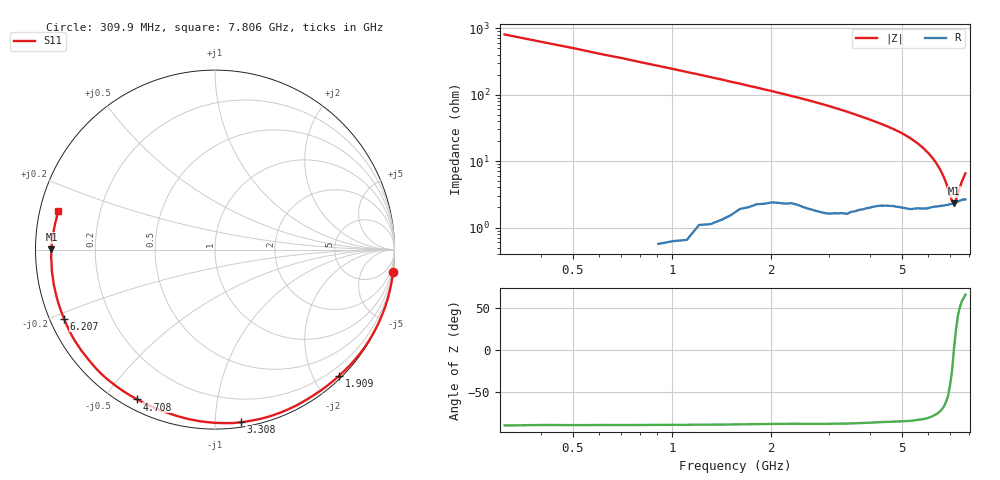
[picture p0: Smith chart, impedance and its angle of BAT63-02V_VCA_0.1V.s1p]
! Infineon Technologies  Discrete & RF Semiconductors
! BAT63-02V
! VCA = 0.1 V
! One-Port S-Parameters
# Hz  S  MA  R  50
!f  S11
!Hz  Mag  Ang
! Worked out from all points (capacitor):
!   76 points, 309.9 MHz to 7.806 GHz, reference 50 ohm
!   read as one part to ground: C = 637 fF near 309.9 MHz
!   lowest |Z| = 2.33 ohm at 7.206 GHz (marker M1)
!   series resonance near 7.202 GHz, so ESL is about 770 pH
!   S11 on the Smith chart (normalised r, x): 309.9 MHz: -0, -16; 1.909 GHz: 0.05, -2.39; 3.308 GHz: 0.03, -1.16; 4.708 GHz: 0.04, -0.61; 6.207 GHz: 0.04, -0.22; 7.806 GHz: 0.05, +0.12
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3.0985e8  1.001 -7.1
5.0975e8  1.001 -11.6
8.096e8  1 -18.7
1.0095e9  0.999 -23.3
1.30935e9  0.9969 -30.5
1.6092e9  0.9921 -37.8
1.90905e9  0.9865 -45.4
2.2089e9  0.9822 -52.7
2.50875e9  0.9796 -60.5
2.70865e9  0.979 -65.6
3.0085e9  0.9772 -73.5
3.2084e9  0.974 -78.9
3.30835e9  0.9723 -81.6
3.4083e9  0.9715 -84.3
3.70815e9  0.9624 -92.4
4.10795e9  0.9511 -102.7
4.50775e9  0.9427 -112.5
4.70765e9  0.9404 -117.4
5.0075e9  0.9395 -124.8
5.2074e9  0.9389 -129.9
5.50725e9  0.935 -137.7
6.007e9  0.9296 -150.3
6.2069e9  0.9252 -155.5
6.50675e9  0.9213 -162.9
6.90655e9  0.9166 -172.6
7.2064e9  0.911 179.9
7.4063e9  0.9061 175.1
7.8061e9  0.9015 166.4
